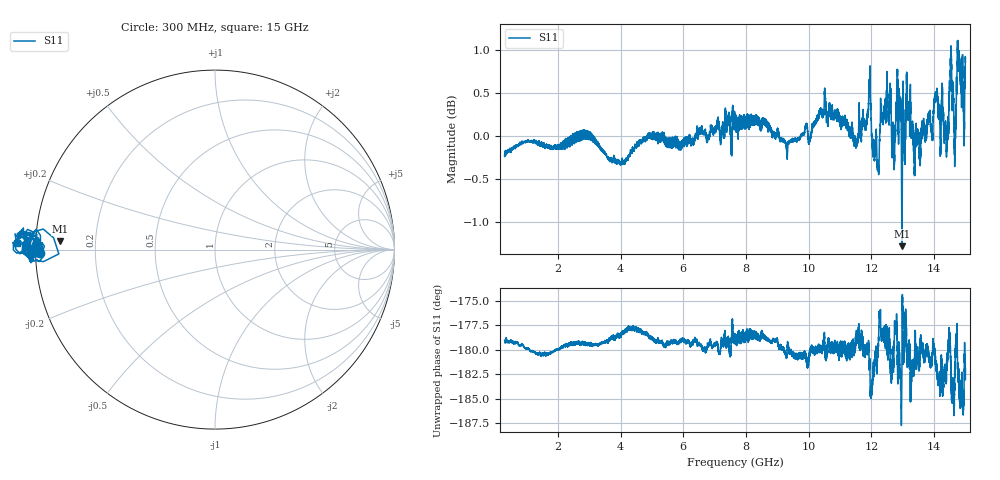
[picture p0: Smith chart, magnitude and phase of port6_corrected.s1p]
! Created with skrf 1.9.0 (http://scikit-rf.org).
# GHz S RI R 50.0
!freq ReS11 ImS11
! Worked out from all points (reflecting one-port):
!   12801 points, 300 MHz to 15 GHz, reference 50 ohm
!   lowest |S11| = -1.3 dB at 12.97 GHz (marker M1), VSWR 13.65, Z = 3.67 + j1.36 ohm
!   phase of S11 starts at -179 deg and turns -3 deg over the sweep
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0.3  -0.9751 -0.0164
2.1375  -0.9898 -0.00416
3.975  -0.9636 -0.0254
5.8125  -0.9903 -0.0101
7.65  -1.017 -0.0223
9.4875  -0.9966 0.012
10.47975  -1.029 -0.0115
11.325  -1.003 0.0141
11.63738  -1.016 -0.00876
11.92219  -1.066 -0.00441
12.03014  -0.9861 0.0577
12.18059  -0.9607 0.026
12.31495  -1.033 -0.0297
12.55268  -1.025 0.00564
12.71002  -0.9825 0.0244
12.87309  -1.012 -0.00353
12.97301  -0.8622 0.0471
13.0511  -0.9946 -0.0144
13.1625  -1.034 0.000743
13.30261  -1 0.0217
13.39908  -0.9821 -0.0186
14.06058  -1.052 0.0334
14.38214  -0.9943 0.0479
14.54407  -1.117 0.0345
14.64054  -1.008 0.0979
14.73241  -1.096 -0.0257
14.87827  -1.036 0.0778
15  -1.104 0.0369
